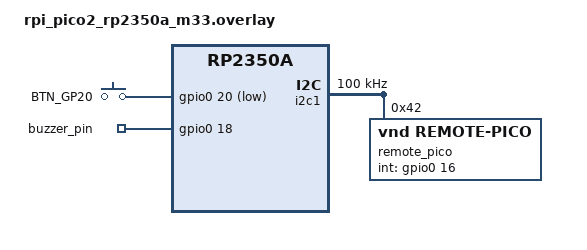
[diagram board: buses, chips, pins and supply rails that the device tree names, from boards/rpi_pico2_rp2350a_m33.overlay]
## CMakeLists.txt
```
cmake_minimum_required(VERSION 3.20.0)

find_package(Zephyr REQUIRED HINTS $ENV{ZEPHYR_BASE})
project(base_station)

target_sources(app PRIVATE
    src/main.c
    src/config_mode.c
    src/fire_alarm.c
    src/remote_pico_display.c
    src/remote_pico_interrupts.c
    drivers/sensor/remote_pico/remote_pico.c
)
```

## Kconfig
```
mainmenu "Base Station"

source "Kconfig.zephyr"

rsource "drivers/sensor/remote_pico/Kconfig"
```

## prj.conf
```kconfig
CONFIG_PRINTK=y
CONFIG_CONSOLE=y
CONFIG_SERIAL=y
CONFIG_UART_CONSOLE=y

CONFIG_LOG=y
CONFIG_LOG_DEFAULT_LEVEL=3
CONFIG_SENSOR_LOG_LEVEL_DBG=y
 
CONFIG_SENSOR=y
CONFIG_I2C=y
CONFIG_GPIO=y
CONFIG_LED_STRIP=y

CONFIG_REMOTE_PICO=y
 
CONFIG_MAIN_STACK_SIZE=2048
CONFIG_SYSTEM_WORKQUEUE_STACK_SIZE=2048
```

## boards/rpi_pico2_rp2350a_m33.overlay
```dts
#include <zephyr/dt-bindings/gpio/gpio.h>
#include <zephyr/dt-bindings/led/led.h>
#include <zephyr/dt-bindings/pinctrl/rpi-pico-rp2350a-pinctrl.h>

&spi0 {
    status = "disabled";
};

&pinctrl {
    ws2812_pio0_default: ws2812_pio0_default {
        group1 {
            pinmux = <PIO0_P28>;
        };
    };

    i2c1_default: i2c1_default {
		group1 {
			pinmux = <I2C1_SDA_P6>, <I2C1_SCL_P7>;
			input-enable;
			input-schmitt-enable;
			bias-pull-up;
		};
	};
};

&i2c1 {
    status = "okay";
    pinctrl-0 = <&i2c1_default>;
    pinctrl-names = "default";
    clock-frequency = <I2C_BITRATE_STANDARD>;   /* 100 kHz to start */

    remote_pico: remote_pico@42 {
        compatible = "vnd,remote-pico";
        reg = <0x42>;
        int-gpios = <&gpio0 16 (GPIO_ACTIVE_HIGH | GPIO_PULL_DOWN)>;
        status = "okay";
    };
};


/ {
    chosen {
        zephyr,led-strip = &neopixel;
    };

    aliases {
        buzzer = &buzzer_pin;
        neopixel = &neopixel;
        sw0 = &user_btn0;
    };

    buttons {
        compatible = "gpio-keys";

        user_btn0: user_btn0 {
            gpios = <&gpio0 20 (GPIO_PULL_UP | GPIO_ACTIVE_LOW)>;
            label = "BTN_GP20";
        };
    };

    gpio_outputs {
        compatible = "gpio-leds";
        buzzer_pin: buzzer_pin {
            gpios = <&gpio0 18 GPIO_ACTIVE_HIGH>;
        };
    };
};

&pio0 {
    status = "okay";
    pio-ws2812 {
        compatible = "worldsemi,ws2812-rpi_pico-pio";
        status = "okay";
        pinctrl-0 = <&ws2812_pio0_default>;
        pinctrl-names = "default";
        bit-waveform = <3>, <3>, <4>;

        neopixel: ws2812 {
            status = "okay";
            gpios = <&gpio0 28 GPIO_ACTIVE_HIGH>;
            chain-length = <1>;
            color-mapping = <LED_COLOR_ID_GREEN
                             LED_COLOR_ID_RED
                             LED_COLOR_ID_BLUE>;
            reset-delay = <280>;
            frequency = <800000>;
        };
    };
};
```

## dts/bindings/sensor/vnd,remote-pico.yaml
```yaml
description: Remote Pico sensor node over I2C

compatible: "vnd,remote-pico"

include:
  - name: i2c-device.yaml
  - name: sensor-device.yaml

properties:
  int-gpios:
    type: phandle-array
    description: GPIO input connected to the sensor node interrupt output.
```

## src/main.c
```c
#include <zephyr/kernel.h>
#include <zephyr/device.h>
#include <zephyr/drivers/gpio.h>
#include <zephyr/drivers/sensor.h>
#include <zephyr/sys/atomic.h>
#include <zephyr/sys/printk.h>

#include <errno.h>

#include "config_mode.h"
#include "fire_alarm.h"
#include "remote_pico_display.h"
#include "remote_pico_interrupts.h"
#include "../drivers/sensor/remote_pico/remote_pico.h"

/*
 * GPIO16: sensor node interrupt output
 * GPIO20: push button that toggles between normal mode and configuration mode
 * Normal mode: prints sensor outputs to the console and triggers the fire alarm if the object temperature >= threshold
 * Configuration mode: user can adjust the fire threshold and some mmWave settings through the console
 */

#define POLL_PERIOD K_SECONDS(1) // poll every 1 second in normal mode
#define DEBOUNCE_MS 50
#define BUTTON_STACK_SIZE 1024
#define BUTTON_PRIORITY 5

enum base_station_mode {
    NORMAL_MODE,
    CONFIGURATION_MODE,
};

static const struct gpio_dt_spec button = GPIO_DT_SPEC_GET(DT_ALIAS(sw0), gpios);

static struct gpio_callback button_cb;
static struct k_sem btn_sem;
static struct k_thread button_thread_data;
static K_THREAD_STACK_DEFINE(button_stack, BUTTON_STACK_SIZE);
static atomic_t current_mode;
static uint32_t last_accepted_press_ms;

static int32_t sensor_value_to_centi_c(const struct sensor_value *v)
{
    return (v->val1 * 100) + (v->val2 / 10000);
}

static void update_fire_alarm_state(const struct device *sensor)
{
    struct sensor_value v;

    if (sensor_channel_get(sensor, (enum sensor_channel)REMOTE_PICO_CHAN_OBJECT_TEMP, &v) != 0) {
        return;
    }

    if (sensor_value_to_centi_c(&v) <= remote_pico_interrupts_get_fire_threshold()) {
        fire_alarm_stop();
    }
}

static bool in_configuration_mode(void)
{
    return atomic_get(&current_mode) == CONFIGURATION_MODE;
}

static bool configuration_mode_should_exit(void)
{
    return !in_configuration_mode();
}

static void set_mode(enum base_station_mode mode)
{
    atomic_set(&current_mode, mode);
    printk("Mode: %s\n", mode == CONFIGURATION_MODE ? "configuration" : "normal");
}

static void button_isr(const struct device *dev, struct gpio_callback *cb, uint32_t pins)
{
    ARG_UNUSED(dev);
    ARG_UNUSED(cb);
    ARG_UNUSED(pins);

    k_sem_give(&btn_sem);
}

static void button_task(void *p1, void *p2, void *p3)
{
    ARG_UNUSED(p1);
    ARG_UNUSED(p2);
    ARG_UNUSED(p3);

    while (1) {
        k_sem_take(&btn_sem, K_FOREVER);

        uint32_t now = k_uptime_get_32();
        if ((now - last_accepted_press_ms) < DEBOUNCE_MS) {
            continue;
        }
        last_accepted_press_ms = now;

        if (in_configuration_mode()) {
            set_mode(NORMAL_MODE);
        } else {
            set_mode(CONFIGURATION_MODE);
        }
    }
}

static int configure_mode_button(void)
{
    k_sem_init(&btn_sem, 0, 1);

    if (!gpio_is_ready_dt(&button)) {
        printk("mode button GPIO not ready\n");
        return -ENODEV;
    }

    int ret = gpio_pin_configure_dt(&button, GPIO_INPUT);
    if (ret != 0) {
        printk("mode button configure failed: %d\n", ret);
        return ret;
    }

    ret = gpio_pin_interrupt_configure_dt(&button, GPIO_INT_EDGE_TO_ACTIVE);
    if (ret != 0) {
        printk("mode button interrupt failed: %d\n", ret);
        return ret;
    }

    gpio_init_callback(&button_cb, button_isr, BIT(button.pin));

    ret = gpio_add_callback(button.port, &button_cb);
    if (ret != 0) {
        printk("mode button callback failed: %d\n", ret);
        return ret;
    }

    k_thread_create(&button_thread_data, button_stack, BUTTON_STACK_SIZE,
                    button_task, NULL, NULL, NULL,
                    BUTTON_PRIORITY, 0, K_NO_WAIT);
    k_thread_name_set(&button_thread_data, "mode_button");

    printk("GPIO%u mode button ready\n", button.pin);

    return 0;
}

int main(void)
{
    const struct device *sensor = DEVICE_DT_GET(DT_NODELABEL(remote_pico));

    printk("\n=== Base station starting ===\n");

    if (!device_is_ready(sensor)) {
        printk("remote_pico device not ready\n");
        return 0;
    }

    int ret = fire_alarm_init();
    if (ret != 0) {
        printk("continuing without local fire alarm outputs\n");
    }

    ret = configure_mode_button();
    if (ret != 0) {
        printk("continuing without configuration-mode button\n");
    }

    ret = remote_pico_interrupts_init(sensor);
    if (ret != 0) {
        printk("continuing with polling only\n");
    }

    remote_pico_interrupts_lock_sensor();
    remote_pico_interrupts_try_configure(true);
    remote_pico_interrupts_unlock_sensor();

    printk("remote_pico ready, polling every 1 s\n\n");

    while (1) {
        if (in_configuration_mode()) {
            config_mode_run(sensor, configuration_mode_should_exit);

            if (in_configuration_mode()) {
                set_mode(NORMAL_MODE);
            }
        }

        remote_pico_interrupts_lock_sensor();

        ret = sensor_sample_fetch(sensor);
        if (ret != 0) {
            printk("[%6u ms] sample_fetch failed: %d\n",
                   k_uptime_get_32(), ret);
            remote_pico_interrupts_unlock_sensor();
            k_sleep(POLL_PERIOD);
            continue;
        }

        remote_pico_interrupts_try_configure(false);
        update_fire_alarm_state(sensor);

        printk("[%6u ms] ", k_uptime_get_32());
        remote_pico_print_sensor_snapshot(sensor);
        printk("\n");

        remote_pico_interrupts_unlock_sensor();
        k_sleep(POLL_PERIOD);
    }

    return 0;
}
```

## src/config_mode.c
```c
#include "config_mode.h"

#include <zephyr/kernel.h>
#include <zephyr/device.h>
#include <zephyr/drivers/uart.h>
#include <zephyr/sys/printk.h>

#include <ctype.h>
#include <errno.h>
#include <limits.h>
#include <stdbool.h>
#include <stdint.h>
#include <stdlib.h>

#include "../drivers/sensor/remote_pico/remote_pico.h"
#include "remote_pico_interrupts.h"

#define LINE_BUF_LEN 32
#define DEFAULT_MMWAVE_MAX_GATE 5
#define DEFAULT_MMWAVE_ABSENCE_S 5

typedef bool (*exit_requested_fn)(void);

static const struct device *const console =
    DEVICE_DT_GET(DT_CHOSEN(zephyr_console));

static uint8_t current_max_gate = DEFAULT_MMWAVE_MAX_GATE;
static uint16_t current_absence_s = DEFAULT_MMWAVE_ABSENCE_S;

static void uart_echo(unsigned char c)
{
    if (device_is_ready(console)) {
        uart_poll_out(console, c);
    }
}

static bool read_line(char *buf, size_t len, exit_requested_fn exit_requested)
{
    size_t pos = 0;

    if (buf == NULL || len == 0 || !device_is_ready(console)) {
        return false;
    }

    while (1) {
        unsigned char c;

        if (exit_requested != NULL && exit_requested()) {
            printk("\n");
            return false;
        }

        if (uart_poll_in(console, &c) != 0) {
            k_msleep(20);
            continue;
        }

        if (c == '\r' || c == '\n') {
            buf[pos] = '\0';
            uart_echo('\r');
            uart_echo('\n');
            return true;
        }

        if (c == '\b' || c == 0x7F) {
            if (pos > 0) {
                pos--;
                uart_echo('\b');
                uart_echo(' ');
                uart_echo('\b');
            }
            continue;
        }

        if (isprint(c) && pos < len - 1) {
            buf[pos++] = (char)c;
            uart_echo(c);
        }
    }
}

static void skip_spaces(const char **p)
{
    while (isspace((unsigned char)**p)) {
        (*p)++;
    }
}

static int parse_centi_c(const char *s, int32_t *out)
{
    const char *p = s;
    bool negative = false;
    int32_t whole = 0;
    int32_t frac = 0;
    int frac_digits = 0;

    if (s == NULL || out == NULL) {
        return -EINVAL;
    }

    skip_spaces(&p);

    if (*p == '-' || *p == '+') {
        negative = (*p == '-');
        p++;
    }

    if (!isdigit((unsigned char)*p)) {
        return -EINVAL;
    }

    while (isdigit((unsigned char)*p)) {
        if (whole > (INT32_MAX / 100)) {
            return -ERANGE;
        }
        whole = (whole * 10) + (*p - '0');
        p++;
    }

    if (*p == '.') {
        p++;
        while (isdigit((unsigned char)*p)) {
            if (frac_digits < 2) {
                frac = (frac * 10) + (*p - '0');
                frac_digits++;
            }
            p++;
        }
    }

    while (frac_digits < 2) {
        frac *= 10;
        frac_digits++;
    }

    skip_spaces(&p);
    if (*p != '\0') {
        return -EINVAL;
    }

    *out = (whole * 100) + frac;
    if (negative) {
        *out = -*out;
    }

    return 0;
}

static int parse_u32_range(const char *s, uint32_t min, uint32_t max,
                           uint32_t *out)
{
    char *end;
    unsigned long value;

    if (s == NULL || out == NULL) {
        return -EINVAL;
    }

    errno = 0;
    value = strtoul(s, &end, 10);
    if (end == s || errno != 0) {
        return -EINVAL;
    }

    while (isspace((unsigned char)*end)) {
        end++;
    }

    if (*end != '\0' || value < min || value > max) {
        return -EINVAL;
    }

    *out = (uint32_t)value;
    return 0;
}

static void print_threshold(int32_t centi_c)
{
    int32_t frac = centi_c % 100;

    if (frac < 0) {
        frac = -frac;
    }

    printk("%d.%02d C", centi_c / 100, frac);
}

static void print_menu(void)
{
    printk("\n=== Configuration mode ===\n");
    printk("1) MLX90614 fire threshold: ");
    print_threshold(remote_pico_interrupts_get_fire_threshold());
    printk("\n");
    printk("2) mmWave max range gate: %u (~%u cm)\n",
           current_max_gate, (unsigned)(current_max_gate + 1) * 70);
    printk("3) mmWave absence delay: %u s\n", current_absence_s);
    printk("q) Return to normal mode\n");
    printk("> ");
}

static void configure_threshold(exit_requested_fn exit_requested)
{
    char line[LINE_BUF_LEN];
    int32_t centi_c;
    int ret;

    printk("Fire threshold in C (example 30 or 30.50): ");
    if (!read_line(line, sizeof(line), exit_requested)) {
        return;
    }

    ret = parse_centi_c(line, &centi_c);
    if (ret != 0) {
        printk("Invalid temperature\n");
        return;
    }

    ret = remote_pico_interrupts_set_fire_threshold(centi_c);
    if (ret == 0) {
        printk("Fire threshold updated to ");
        print_threshold(centi_c);
        printk("\n");
    } else {
        printk("Failed to update fire threshold: %d\n", ret);
    }
}

static void configure_max_gate(const struct device *sensor,
                               exit_requested_fn exit_requested)
{
    char line[LINE_BUF_LEN];
    uint32_t value;
    int ret;

    printk("Max range gate (0..15, each gate is about 70 cm): ");
    if (!read_line(line, sizeof(line), exit_requested)) {
        return;
    }

    ret = parse_u32_range(line, 0, 15, &value);
    if (ret != 0) {
        printk("Invalid max range gate\n");
        return;
    }

    remote_pico_interrupts_lock_sensor();
    ret = remote_pico_set_mmwave_max_gate(sensor, (uint8_t)value);
    remote_pico_interrupts_unlock_sensor();

    if (ret == 0) {
        current_max_gate = (uint8_t)value;
        printk("mmWave max range gate updated to %u\n", current_max_gate);
    } else {
        printk("Failed to update mmWave max range gate: %d\n", ret);
    }
}

static void configure_absence_delay(const struct device *sensor,
                                    exit_requested_fn exit_requested)
{
    char line[LINE_BUF_LEN];
    uint32_t value;
    int ret;

    printk("Absence delay in seconds (0..65535): ");
    if (!read_line(line, sizeof(line), exit_requested)) {
        return;
    }

    ret = parse_u32_range(line, 0, UINT16_MAX, &value);
    if (ret != 0) {
        printk("Invalid absence delay\n");
        return;
    }

    remote_pico_interrupts_lock_sensor();
    ret = remote_pico_set_mmwave_absence_delay(sensor, (uint16_t)value);
    remote_pico_interrupts_unlock_sensor();

    if (ret == 0) {
        current_absence_s = (uint16_t)value;
        printk("mmWave absence delay updated to %u s\n", current_absence_s);
    } else {
        printk("Failed to update mmWave absence delay: %d\n", ret);
    }
}

void config_mode_run(const struct device *sensor, exit_requested_fn exit_requested)
{
    char line[LINE_BUF_LEN];

    if (!device_is_ready(console)) {
        printk("console UART not ready\n");
        return;
    }

    printk("\n--- Entered configuration mode ---\n");
    printk("Press GPIO20 again, or enter q, to return to normal mode.\n");

    while (1) {
        print_menu();
        if (!read_line(line, sizeof(line), exit_requested)) {
            break;
        }

        switch (line[0]) {
        case '1':
            configure_threshold(exit_requested);
            break;
        case '2':
            configure_max_gate(sensor, exit_requested);
            break;
        case '3':
            configure_absence_delay(sensor, exit_requested);
            break;
        case 'q':
        case 'Q':
            return;
        default:
            printk("Unknown option\n");
            break;
        }
    }
}
```

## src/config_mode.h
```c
#ifndef BASE_STATION_CONFIG_MODE_H_
#define BASE_STATION_CONFIG_MODE_H_

#include <stdbool.h>
#include <zephyr/device.h>

void config_mode_run(const struct device *sensor, bool (*exit_requested)(void));

#endif
```

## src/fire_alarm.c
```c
#include "fire_alarm.h"

#include <zephyr/kernel.h>
#include <zephyr/device.h>
#include <zephyr/drivers/gpio.h>
#include <zephyr/drivers/led_strip.h>
#include <zephyr/sys/atomic.h>
#include <zephyr/sys/printk.h>

#include <errno.h>

#define NEOPIXEL_NODE DT_ALIAS(neopixel)
#define BUZZER_NODE DT_ALIAS(buzzer)

#define ALARM_STACK_SIZE 768
#define ALARM_PRIORITY 8
#define LED_TOGGLE_MS 1000
#define TONE_DURATION_MS 20
#define MIN_FREQ_HZ 500
#define MAX_FREQ_HZ 1500
#define FREQ_STEP_HZ 25

static const struct device *const neopixel = DEVICE_DT_GET(NEOPIXEL_NODE);
static const struct gpio_dt_spec buzzer = GPIO_DT_SPEC_GET(BUZZER_NODE, gpios);

static K_SEM_DEFINE(alarm_start_sem, 0, 1);
static K_THREAD_STACK_DEFINE(alarm_stack, ALARM_STACK_SIZE);

static struct k_thread alarm_thread_data;
static atomic_t alarm_active;
static atomic_t alarm_flash_red;
static bool alarm_thread_started;
static bool buzzer_ready;
static bool neopixel_ready;

static void neopixel_red(bool on)
{
    if (!neopixel_ready) return;

    struct led_rgb pixel = {
        .r = on ? 255 : 0,
        .g = 0,
        .b = 0,
    };

    (void)led_strip_update_rgb(neopixel, &pixel, 1);
}

static void buzzer_tone(uint32_t freq_hz, uint32_t duration_ms)
{
    if (!buzzer_ready) {
        k_msleep(duration_ms);
        return;
    }

    uint32_t half_period_us = 1000000U / (freq_hz * 2U);
    uint32_t cycles = (duration_ms * 1000U) / (half_period_us * 2U);

    for (uint32_t i = 0; i < cycles; i++) {
        gpio_pin_set_dt(&buzzer, 1);
        k_busy_wait(half_period_us);

        gpio_pin_set_dt(&buzzer, 0);
        k_busy_wait(half_period_us);
    }
}

static void step_frequency(uint32_t *freq_hz, int *direction)
{
    if (*direction > 0) {
        *freq_hz += FREQ_STEP_HZ;
        if (*freq_hz >= MAX_FREQ_HZ) {
            *freq_hz = MAX_FREQ_HZ;
            *direction = -1;
        }
    } else {
        *freq_hz -= FREQ_STEP_HZ;
        if (*freq_hz <= MIN_FREQ_HZ) {
            *freq_hz = MIN_FREQ_HZ;
            *direction = 1;
        }
    }
}

static void alarm_thread(void *p1, void *p2, void *p3)
{
    ARG_UNUSED(p1);
    ARG_UNUSED(p2);
    ARG_UNUSED(p3);

    while (1) {
        k_sem_take(&alarm_start_sem, K_FOREVER);

        bool red_on = false;
        int64_t next_led_toggle = k_uptime_get();
        uint32_t freq_hz = MIN_FREQ_HZ;
        int direction = 1;

        neopixel_red(false);

        while (atomic_get(&alarm_active)) {
            if (atomic_get(&alarm_flash_red)) {
                int64_t now = k_uptime_get();

                if (now >= next_led_toggle) {
                    red_on = !red_on;
                    neopixel_red(red_on);
                    next_led_toggle = now + LED_TOGGLE_MS;
                }
            } else if (red_on) {
                red_on = false;
                neopixel_red(false);
            }

            buzzer_tone(freq_hz, TONE_DURATION_MS);
            step_frequency(&freq_hz, &direction);
        }

        neopixel_red(false);
        if (buzzer_ready) {
            gpio_pin_set_dt(&buzzer, 0);
        }
    }
}

int fire_alarm_init(void)
{
    int ret;

    buzzer_ready = device_is_ready(buzzer.port);
    if (!buzzer_ready) {
        printk("fire alarm: buzzer not ready\n");
    } else {
        ret = gpio_pin_configure_dt(&buzzer, GPIO_OUTPUT_INACTIVE);
        if (ret != 0) {
            printk("fire alarm: buzzer configure failed: %d\n", ret);
            buzzer_ready = false;
        }
    }

    neopixel_ready = device_is_ready(neopixel);
    if (!neopixel_ready) {
        printk("fire alarm: NeoPixel not ready\n");
    } else {
        neopixel_red(false);
    }

    if (!buzzer_ready && !neopixel_ready) {
        return -ENODEV;
    }

    k_thread_create(&alarm_thread_data, alarm_stack, ALARM_STACK_SIZE,
                    alarm_thread, NULL, NULL, NULL,
                    ALARM_PRIORITY, 0, K_NO_WAIT);
    k_thread_name_set(&alarm_thread_data, "fire_alarm");
    alarm_thread_started = true;

    return 0;
}

void fire_alarm_trigger(bool occupied)
{
    if (!alarm_thread_started) {
        return;
    }

    atomic_set(&alarm_flash_red, occupied ? 1 : 0);

    if (!atomic_cas(&alarm_active, 0, 1)) {
        return;
    }

    printk("fire alarm triggered%s\n", occupied ? " (occupied)" : "");
    k_sem_give(&alarm_start_sem);
}

void fire_alarm_stop(void)
{
    if (atomic_cas(&alarm_active, 1, 0)) {
        atomic_set(&alarm_flash_red, 0);
        printk("fire alarm cleared\n");
    }
}
```

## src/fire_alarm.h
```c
#ifndef BASE_STATION_FIRE_ALARM_H_
#define BASE_STATION_FIRE_ALARM_H_

#include <stdbool.h>

int fire_alarm_init(void);
void fire_alarm_trigger(bool occupied);
void fire_alarm_stop(void);

#endif
```

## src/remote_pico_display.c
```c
#include "remote_pico_display.h"

#include <zephyr/drivers/sensor.h>
#include <zephyr/sys/printk.h>

#include <stdbool.h>

#include "../drivers/sensor/remote_pico/remote_pico.h"

static void print_temp(const char *label, const struct sensor_value *v)
{
    int frac = v->val2 / 10000;

    if (frac < 0) {
        frac = -frac;
    }
    printk("%s=%d.%02d C  ", label, v->val1, frac);
}

static void print_humidity(const struct sensor_value *v)
{
    int frac = v->val2 / 1000;

    if (frac < 0) {
        frac = -frac;
    }
    printk("RH=%d.%03d %%  ", v->val1, frac);
}

void remote_pico_print_irq_sources(uint8_t src)
{
    printk("INT_SRC=0x%02X", src);

    if (src & REMOTE_PICO_INT_T_OBJ_HIGH) {
        printk(" T_OBJ_HIGH");
    }
}

void remote_pico_print_sensor_snapshot(const struct device *sensor)
{
    struct sensor_value v;

    if (sensor_channel_get(sensor, SENSOR_CHAN_AMBIENT_TEMP, &v) == 0) {
        print_temp("T_air", &v);
    }
    if (sensor_channel_get(sensor, SENSOR_CHAN_HUMIDITY, &v) == 0) {
        print_humidity(&v);
    }
    if (sensor_channel_get(sensor, SENSOR_CHAN_GAS_RES, &v) == 0) {
        printk("Gas=%d ohm  ", v.val1);
    }
    if (sensor_channel_get(sensor, REMOTE_PICO_CHAN_GAS_VALID, &v) == 0
        && v.val1 == 0) {
        printk("(warming) ");
    }

    if (sensor_channel_get(sensor, (enum sensor_channel)REMOTE_PICO_CHAN_OBJECT_TEMP, &v) == 0) {
        print_temp("T_obj", &v);
    }

    bool occ = false;

    if (sensor_channel_get(sensor, (enum sensor_channel)REMOTE_PICO_CHAN_OCCUPANCY, &v) == 0) {
        occ = (v.val1 != 0);
        printk("Occupied=%s  ", occ ? "yes" : "no ");
    }
    if (occ && sensor_channel_get(sensor, (enum sensor_channel)REMOTE_PICO_CHAN_MMWAVE_RANGE, &v) == 0
        && v.val1 > 0) {
        printk("range=%d cm  ", v.val1);
    }

    if (sensor_channel_get(sensor, (enum sensor_channel)REMOTE_PICO_CHAN_MIC_PEAK, &v) == 0) {
        printk("MicPk=%d ", v.val1);
    }
    if (sensor_channel_get(sensor, (enum sensor_channel)REMOTE_PICO_CHAN_MIC_RMS, &v) == 0) {
        printk("MicRMS=%d ", v.val1);
    }
}
```

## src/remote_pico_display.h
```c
#ifndef BASE_STATION_REMOTE_PICO_DISPLAY_H_
#define BASE_STATION_REMOTE_PICO_DISPLAY_H_

#include <stdint.h>
#include <zephyr/device.h>

void remote_pico_print_irq_sources(uint8_t src);
void remote_pico_print_sensor_snapshot(const struct device *sensor);

#endif
```

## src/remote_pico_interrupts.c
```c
#include "remote_pico_interrupts.h"

#include <zephyr/kernel.h>
#include <zephyr/device.h>
#include <zephyr/drivers/gpio.h>
#include <zephyr/drivers/sensor.h>
#include <zephyr/sys/printk.h>

#include <errno.h>

#include "../drivers/sensor/remote_pico/remote_pico.h"
#include "fire_alarm.h"
#include "remote_pico_display.h"

#define REMOTE_PICO_NODE DT_NODELABEL(remote_pico)
#define IRQ_CONFIG_RETRY_MS 2000

static const struct gpio_dt_spec remote_irq = GPIO_DT_SPEC_GET_OR(REMOTE_PICO_NODE, int_gpios, {0});

static const struct device *remote_sensor;
static struct gpio_callback remote_irq_cb;
static K_MUTEX_DEFINE(remote_sensor_lock);
static bool interrupt_demo_configured;
static uint32_t last_irq_config_try_ms;
static int32_t fire_threshold_centi_c = REMOTE_PICO_FIRE_THRESHOLD_DEFAULT_CENTI_C;

static void remote_irq_work_handler(struct k_work *work);
static K_WORK_DEFINE(remote_irq_work, remote_irq_work_handler);

static bool remote_sensor_is_occupied(void)
{
    struct sensor_value v;

    if (sensor_channel_get(remote_sensor, (enum sensor_channel)REMOTE_PICO_CHAN_OCCUPANCY, &v) != 0) {
        return false;
    }
    return v.val1 != 0;
}

void remote_pico_interrupts_lock_sensor(void)
{
    k_mutex_lock(&remote_sensor_lock, K_FOREVER);
}

void remote_pico_interrupts_unlock_sensor(void)
{
    k_mutex_unlock(&remote_sensor_lock);
}

static void remote_irq_work_handler(struct k_work *work)
{
    ARG_UNUSED(work);

    if (remote_sensor == NULL) return;

    remote_pico_interrupts_lock_sensor();

    int ret = sensor_sample_fetch(remote_sensor);
    if (ret != 0) {
        printk("[%6u ms][irq] sample_fetch failed: %d\n", k_uptime_get_32(), ret);
        remote_pico_interrupts_unlock_sensor();
        return;
    }

    struct sensor_value v;

    ret = sensor_channel_get(remote_sensor, (enum sensor_channel)REMOTE_PICO_CHAN_INT_SRC, &v);
    if (ret == 0 && v.val1 != 0) {
        uint8_t src = (uint8_t)v.val1;

        printk("[%6u ms][irq] ", k_uptime_get_32());
        remote_pico_print_irq_sources(src);
        printk("  ");
        remote_pico_print_sensor_snapshot(remote_sensor);
        printk("\n");

        if (src & REMOTE_PICO_INT_T_OBJ_HIGH) {
            fire_alarm_trigger(remote_sensor_is_occupied());
        }

        ret = remote_pico_clear_interrupts(remote_sensor);
        if (ret != 0) {
            printk("[%6u ms][irq] clear failed: %d\n", k_uptime_get_32(), ret);
        }
    }

    remote_pico_interrupts_unlock_sensor();
}

static void remote_irq_isr(const struct device *port, struct gpio_callback *cb, uint32_t pins)
{
    ARG_UNUSED(port);
    ARG_UNUSED(cb);
    ARG_UNUSED(pins);

    k_work_submit(&remote_irq_work);
}

static int configure_irq_gpio(void)
{
    if (remote_irq.port == NULL || !device_is_ready(remote_irq.port)) {
        printk("remote_pico interrupt GPIO not ready\n");
        return -ENODEV;
    }

    int ret = gpio_pin_configure_dt(&remote_irq, GPIO_INPUT);
    if (ret != 0) {
        printk("interrupt GPIO configure failed: %d\n", ret);
        return ret;
    }

    gpio_init_callback(&remote_irq_cb, remote_irq_isr, BIT(remote_irq.pin));

    ret = gpio_add_callback(remote_irq.port, &remote_irq_cb);
    if (ret != 0) {
        printk("interrupt GPIO callback failed: %d\n", ret);
        return ret;
    }

    ret = gpio_pin_interrupt_configure_dt(&remote_irq, GPIO_INT_EDGE_TO_ACTIVE);
    if (ret != 0) {
        printk("interrupt GPIO enable failed: %d\n", ret);
        return ret;
    }

    printk("GPIO%u interrupt input ready\n", remote_irq.pin);

    if (gpio_pin_get_dt(&remote_irq) > 0) {
        k_work_submit(&remote_irq_work);
    }

    return 0;
}

int remote_pico_interrupts_init(const struct device *sensor)
{
    remote_sensor = sensor;

    if (remote_sensor == NULL) {
        return -EINVAL;
    }

    return configure_irq_gpio();
}

int32_t remote_pico_interrupts_get_fire_threshold(void)
{
    return fire_threshold_centi_c;
}

int remote_pico_interrupts_set_fire_threshold(int32_t centi_c)
{
    int ret = 0;

    if (remote_sensor == NULL) {
        return -ENODEV;
    }

    remote_pico_interrupts_lock_sensor();

    ret = remote_pico_set_interrupts(remote_sensor, 0);
    if (ret == 0) {
        ret = remote_pico_set_object_temp_high(remote_sensor, centi_c);
        if (ret == 0) {
            fire_threshold_centi_c = centi_c;
        }
    }
    if (ret == 0) {
        ret = remote_pico_clear_interrupts(remote_sensor);
    }
    if (ret == 0) {
        ret = remote_pico_set_interrupts(remote_sensor, REMOTE_PICO_INT_T_OBJ_HIGH);
    }
    if (ret == 0) {
        interrupt_demo_configured = true;
    }

    remote_pico_interrupts_unlock_sensor();

    return ret;
}

static int configure_remote_interrupt_demo(const struct device *sensor)
{
    int ret;

    ret = remote_pico_set_interrupts(sensor, 0);
    if (ret != 0) {
        printk("interrupt demo: disable INT_EN failed: %d\n", ret);
        return ret;
    }

    ret = remote_pico_set_object_temp_high(sensor, fire_threshold_centi_c);
    if (ret != 0) {
        printk("interrupt demo: write T_obj threshold failed: %d\n", ret);
        return ret;
    }

    ret = remote_pico_clear_interrupts(sensor);
    if (ret != 0) {
        printk("interrupt demo: clear INT_SRC failed: %d\n", ret);
        return ret;
    }

    ret = remote_pico_set_interrupts(sensor, REMOTE_PICO_INT_T_OBJ_HIGH);
    if (ret != 0) {
        printk("interrupt demo: enable T_OBJ_HIGH failed: %d\n", ret);
        return ret;
    }

    printk("interrupt demo: GPIO16, T_obj > %d.%02d C\n", fire_threshold_centi_c / 100, fire_threshold_centi_c % 100);

    return 0;
}

void remote_pico_interrupts_try_configure(bool force)
{
    uint32_t now = k_uptime_get_32();

    if (remote_sensor == NULL || interrupt_demo_configured) return;
    if (!force && (now - last_irq_config_try_ms) < IRQ_CONFIG_RETRY_MS) return;

    last_irq_config_try_ms = now;

    int ret = configure_remote_interrupt_demo(remote_sensor);
    if (ret == 0) {
        interrupt_demo_configured = true;
        return;
    }

    printk("interrupt demo config pending: %d "
           "(check sensor-node firmware, power, I2C wiring)\n", ret);
}
```

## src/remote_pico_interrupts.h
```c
#ifndef BASE_STATION_REMOTE_PICO_INTERRUPTS_H_
#define BASE_STATION_REMOTE_PICO_INTERRUPTS_H_

#include <stdbool.h>
#include <stdint.h>
#include <zephyr/device.h>

#define REMOTE_PICO_FIRE_THRESHOLD_DEFAULT_CENTI_C 3000

int remote_pico_interrupts_init(const struct device *sensor);
int remote_pico_interrupts_set_fire_threshold(int32_t centi_c);
int32_t remote_pico_interrupts_get_fire_threshold(void);
void remote_pico_interrupts_try_configure(bool force);
void remote_pico_interrupts_lock_sensor(void);
void remote_pico_interrupts_unlock_sensor(void);

#endif /* BASE_STATION_REMOTE_PICO_INTERRUPTS_H_ */
```
